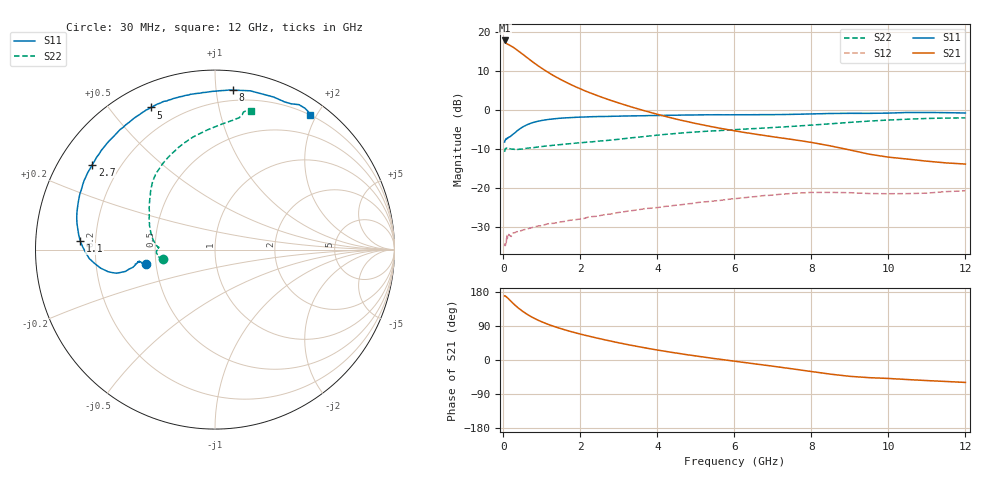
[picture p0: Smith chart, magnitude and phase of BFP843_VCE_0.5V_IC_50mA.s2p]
! Infineon Technologies  Discrete & RF Semiconductors
! BFP843
! VCE =  0.5 V,  IC =  50 mA
! Common Emitter S-Parameters:  Aug 2013
# GHz  S  MA  R  50
!  f  S11  S21  S12  S22
! GHz  MAG  ANG  MAG  ANG  MAG  ANG  MAG  ANG
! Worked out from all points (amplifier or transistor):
!   103 points, 30 MHz to 12 GHz, reference 50 ohm
!   highest |S21| = 17.9 dB at 30 MHz (marker M1)
!   |S21| within 3 dB of that: start of sweep to 428.2 MHz
!   unconditionally stable (mu >= 1): start of sweep to end of sweep
!   at 400 MHz: K = 2.19, MAG = 17.0 dB, |S12| = -31.2 dB
!   at 3.7 GHz: K = 2.37, MAG = 5.9 dB, |S12| = -25.2 dB
!   at 12 GHz: K = 2.09, MAG = -2.5 dB, |S12| = -20.7 dB
!   S11 on the Smith chart (normalised r, x): 30 MHz: 0.44, -0.08; 1.1 GHz: 0.14, +0.03; 2.7 GHz: 0.10, +0.31; 5 GHz: 0.10, +0.64; 8 GHz: 0.13, +1.11; 12 GHz: 0.20, +1.91
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0.03  0.3898 -168.5  7.81 169.0  0.0181 21.8  0.293 -169.7
0.04  0.4071 -169.3  7.538 168.3  0.0194 17.9  0.3094 -171.8
0.05  0.4149 -169.6  7.4 168.8  0.0185 19.1  0.3221 -173.1
0.07  0.4319 -170.6  7.157 167.2  0.0191 21.7  0.3244 -175.9
0.09  0.435 -170.5  7.084 165.3  0.0248 19.5  0.3267 -177.2
0.25  0.4913 -167.2  6.41 149.4  0.0267 13.5  0.3162 178.0
0.35  0.5405 -166.4  5.904 140.3  0.0278 15.8  0.3129 177.6
0.45  0.5871 -167.4  5.433 132.2  0.0284 16.5  0.3166 177.5
0.7  0.676 -173.5  4.367 115.4  0.0309 19.5  0.3287 175.6
0.9  0.7213 -178.8  3.698 105.0  0.0328 18.7  0.3376 173.5
1.1  0.7522 176.3  3.183 96.5  0.0344 19.1  0.3469 171.5
1.3  0.7727 171.5  2.771 89.0  0.0355 20.4  0.3549 169.4
1.6  0.7959 165.2  2.311 79.4  0.0376 21.5  0.3669 166.2
2.1  0.8164 155.6  1.781 65.8  0.0411 21.9  0.3859 160.5
2.7  0.8311 145.3  1.38 51.8  0.0463 21.8  0.4097 153.4
4.1  0.8553 124.2  0.858 24.6  0.0575 18.5  0.4839 137.8
5  0.8685 114.2  0.674 10.6  0.0651 14.5  0.5256 130.1
6.1  0.8728 104.6  0.534 -4.5  0.0742 9.2  0.5658 119.8
8  0.8942 83.6  0.386 -30.4  0.0883 -7.2  0.6432 99.8
8.5  0.9062 77.5  0.348 -37.4  0.0884 -12.1  0.6689 93.5
10.5  0.9333 59.9  0.236 -51.6  0.0853 -21.8  0.7656 78.6
12  0.9198 54.8  0.204 -59.2  0.0925 -28.6  0.795 75.5
